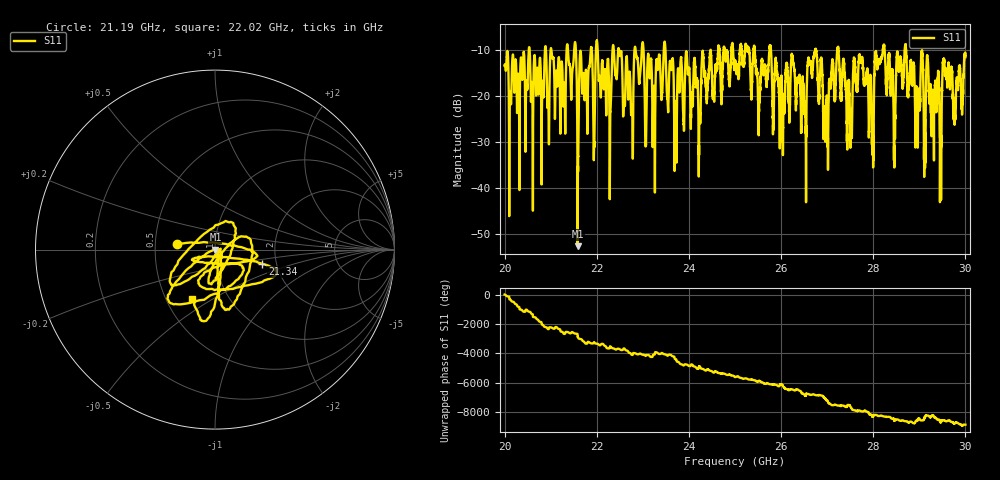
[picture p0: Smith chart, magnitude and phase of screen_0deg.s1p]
#  HZ  S  RI  R  50.00
! Rohde & Schwarz ZVA40 4Ports - Version 3.90 - 1145.1110k42 SN: 100403
! Date: 2023-09-28 08:39:33
! Measurement: S22
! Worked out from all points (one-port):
!   5001 points, 20 GHz to 30 GHz, reference 50 ohm
!   lowest |S11| = -52.6 dB at 21.59 GHz (marker M1), VSWR 1.00, Z = 50.2 - j0.0273 ohm
!   |S11| at or under -10 dB: 23.49 GHz to 24.47 GHz (978.3 MHz wide, 4.08 % of centre); 25.78 GHz to 26.74 GHz (959.1 MHz wide, 3.65 % of centre); 27.24 GHz to 28.21 GHz (966.3 MHz wide, 3.49 % of centre)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
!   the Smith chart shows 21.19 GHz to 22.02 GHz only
!   S11 on the Smith chart (normalised r, x): 21.19 GHz: 0.65, +0.04; 21.34 GHz: 1.68, -0.29; 22.02 GHz: 0.68, -0.41
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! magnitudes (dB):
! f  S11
! 20 GHz  -13.4
! 21.19 GHz  -13.4
! 21.25 GHz  -13.6
! 21.34 GHz  -11.2
! 21.59 GHz  -52.6
! 22.02 GHz  -10.4
! 22.25 GHz  -12.9
! 22.5 GHz  -11.0
! 22.74 GHz  -23.6
! 22.85 GHz  -10.8
! 23.75 GHz  -16.4
! 25 GHz  -12.9
! 25.75 GHz  -9.6
! 26.01 GHz  -16.5
! 26.25 GHz  -12.3
! 26.5 GHz  -22.4
! 26.74 GHz  -10.0
! 26.97 GHz  -25.7
! 27.24 GHz  -9.8
! 27.5 GHz  -30.7
! 27.72 GHz  -12.2
! 27.96 GHz  -18.3
! 28.2 GHz  -10.5
! 28.44 GHz  -20.6
! 28.75 GHz  -19.8
! 29.44 GHz  -29.1
! 29.55 GHz  -12.9
! 30 GHz  -11.5
